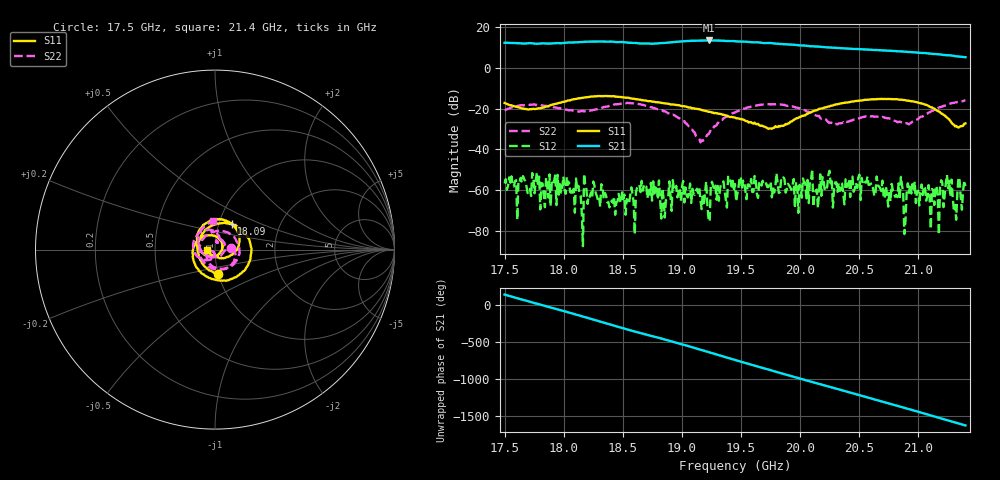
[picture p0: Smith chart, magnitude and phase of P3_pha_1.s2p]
!Created with skrf (http://scikit-rf.org).
# GHz S RI R 50.0
!freq ReS11 ImS11 ReS21 ImS21 ReS12 ImS12 ReS22 ImS22
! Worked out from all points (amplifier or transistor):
!   401 points, 17.5 GHz to 21.4 GHz, reference 50 ohm
!   highest |S21| = 13.5 dB at 19.23 GHz (marker M1)
!   |S21| within 3 dB of that: start of sweep to 20.15 GHz
!   unconditionally stable (mu >= 1): start of sweep to end of sweep
!   at 18.14 GHz: K = 150.47, MAG = 12.9 dB, |S12| = -62.7 dB
!   at 19.45 GHz: K = 77.45, MAG = 13.2 dB, |S12| = -57.1 dB
!   at 21.4 GHz: K = 211.60, MAG = 5.4 dB, |S12| = -58.1 dB
!   S11 on the Smith chart (normalised r, x): 17.5 GHz: 0.99, -0.28; 18.09 GHz: 1.15, +0.34; 21.4 GHz: 0.92, -0.01
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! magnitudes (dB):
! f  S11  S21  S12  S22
! 17.5 GHz  -17.3  12.4  -56.8  -20.9
! 18.09 GHz  -15.4  12.6  -59.5  -21.1
! 18.15 GHz  -14.8  12.8  -71.5  -21.2
! 18.19 GHz  -14.4  12.9  -59.6  -21.2
! 18.6 GHz  -15.3  12.3  -81.7  -17.6
! 18.64 GHz  -15.7  12.0  -57.5  -17.9
! 18.81 GHz  -16.9  12.2  -55.4  -20.4
! 19.23 GHz  -21.6  13.5  -74.1  -32.6
! 19.26 GHz  -22.0  13.5  -58.1  -29.6
! 19.45 GHz  -24.4  13.2  -57.1  -21.9
! 19.75 GHz  -29.8  12.3  -56.3  -18.0
! 20.1 GHz  -21.5  10.7  -49.7  -22.6
! 20.13 GHz  -20.9  10.6  -60.5  -23.3
! 20.25 GHz  -18.9  10.1  -50.6  -27.1
! 20.76 GHz  -15.3  8.5  -60.3  -24.9
! 20.85 GHz  -15.6  8.1  -53.6  -26.6
! 20.9 GHz  -16.0  7.9  -61.4  -27.2
! 20.95 GHz  -16.5  7.8  -57.2  -26.5
! 21.12 GHz  -19.4  6.9  -59.5  -21.1
! 21.26 GHz  -25.4  6.3  -55.5  -17.7
! 21.31 GHz  -28.7  5.8  -67.4  -17.0
! 21.4 GHz  -27.3  5.3  -58.1  -15.9
